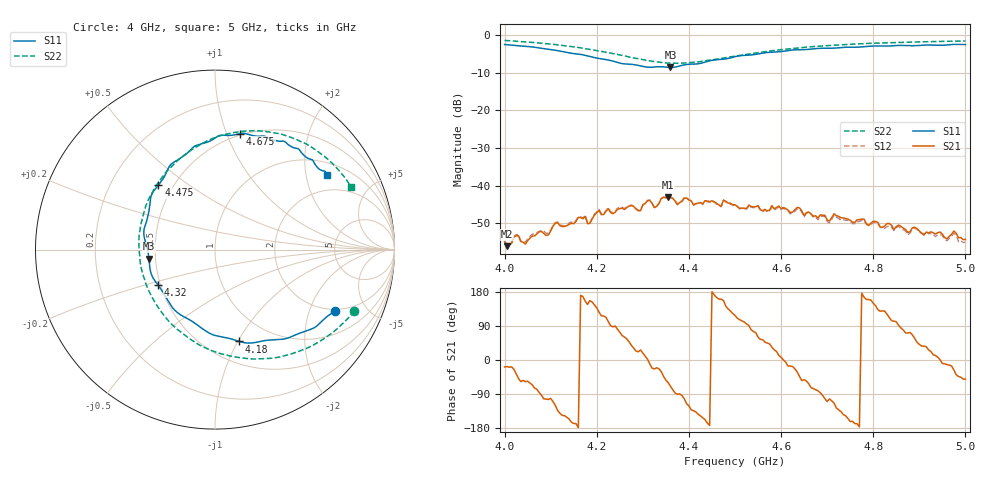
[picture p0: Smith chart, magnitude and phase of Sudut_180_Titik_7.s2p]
# Hz S RI R 50
! CMT, C1220, 16058040, 17.2.0/1
! Date: 15/08/2018 12:03:14
! Data: Format (Calibration Info)
! Freq  S11: Re/Im (F2)  S21: Re/Im (F2)  S12: Re/Im (F2)  S22: Re/Im (F2)
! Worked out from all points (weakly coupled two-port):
!   201 points, 4 GHz to 5 GHz, reference 50 ohm
!   highest |S21| = -43.12 dB at 4.355 GHz (marker M1); lowest = -56.1 dB at 4.005 GHz (marker M2)
!   lowest |S11| = -8.6 dB at 4.36 GHz (marker M3), VSWR 2.18, Z = 23 - j2.7 ohm
!   |S11| at or under -10 dB: nowhere
!   |S22| runs from -7.5 to -1.4 dB; largest |S21 - S12| = 0.0003
!   S11 on the Smith chart (normalised r, x): 4 GHz: 1.93, -3.01; 4.18 GHz: 0.71, -1.01; 4.32 GHz: 0.48, -0.22; 4.475 GHz: 0.42, +0.39; 4.675 GHz: 0.49, +1.12; 5 GHz: 1.41, +2.64
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4e9  0.6678 -0.3412  0.00169 -0.00056  0.00179 -0.00053  0.7768 -0.341
4.005e9  0.6598 -0.3475  0.00149 -0.000463  0.00157 -0.000434  0.7682 -0.3526
4.025e9  0.619 -0.3775  0.00173 -0.00127  0.00188 -0.00119  0.7291 -0.395
4.045e9  0.5735 -0.4201  0.000904 -0.0014  0.00107 -0.0014  0.6852 -0.4371
4.075e9  0.4978 -0.4561  0.000188 -0.00242  0.000332 -0.00244  0.6091 -0.4943
4.095e9  0.4329 -0.482  -0.000537 -0.00214  -0.000537 -0.00227  0.5535 -0.529
4.11e9  0.3845 -0.498  -0.00156 -0.00274  -0.00152 -0.00284  0.504 -0.5529
4.17e9  0.1682 -0.5196  -0.00353 0.000818  -0.00362 0.00075  0.281 -0.6071
4.18e9  0.1361 -0.5116  -0.00261 0.00172  -0.00273 0.00175  0.2396 -0.6088
4.205e9  0.0412 -0.4871  -0.00276 0.00378  -0.00294 0.00382  0.131 -0.6009
4.32e9  -0.3193 -0.1945  0.00539 -0.00213  0.00543 -0.00214  -0.3252 -0.3088
4.335e9  -0.3518 -0.1436  0.00532 -0.00229  0.00538 -0.00236  -0.3632 -0.2414
4.355e9  -0.3655 -0.073  0.0035 -0.00604  0.00356 -0.00609  -0.4004 -0.143
4.36e9  -0.3682 -0.0507  0.00244 -0.00649  0.00248 -0.0066  -0.4071 -0.1187
4.375e9  -0.3808 0.019  -7.04e-05 -0.00557  -0.000161 -0.00568  -0.4193 -0.0441
4.475e9  -0.315 0.3589  -0.00589 0.00252  -0.0058 0.00262  -0.3028 0.3913
4.5e9  -0.2641 0.4432  -0.00256 0.00491  -0.00253 0.00484  -0.239 0.4671
4.635e9  0.0366 0.6374  0.00436 -0.00267  0.00416 -0.00256  0.1453 0.658
4.67e9  0.1295 0.6434  0.000978 -0.00379  0.00088 -0.00369  0.2374 0.6621
4.675e9  0.1396 0.646  0.000786 -0.00388  0.000695 -0.00378  0.25 0.6614
4.835e9  0.4351 0.5689  -0.00116 0.0029  -0.00114 0.00269  0.573 0.5467
5e9  0.6235 0.4132  0.00123 -0.00148  0.00117 -0.00131  0.7582 0.3504
